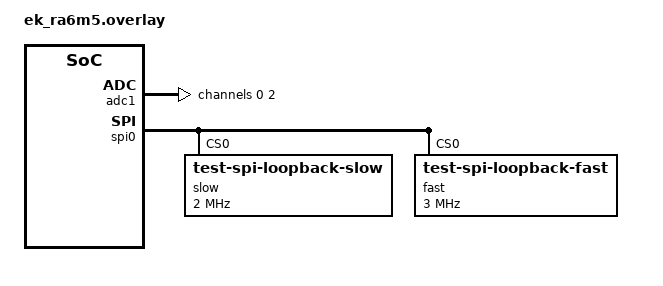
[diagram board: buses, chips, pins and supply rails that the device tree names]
/*
 * Copyright (c) 2024 Renesas Electronics Corporation
 *
 * SPDX-License-Identifier: Apache-2.0
 */

/*
 * Copyright (c) 2024 Renesas Electronics Corporation
 *
 * SPDX-License-Identifier: Apache-2.0
 */

&pinctrl {
	adc1_default: adc1_default {
		group1 {
			/* input */
			psels = <RA_PSEL(RA_PSEL_ADC, 0, 0)>;
			renesas,analog-enable;
		};
	};
};

&adc1 {
	pinctrl-0 = <&adc1_default>;
	pinctrl-names = "default";
	status = "okay";
	#address-cells = <1>;
	#size-cells = <0>;

	channel@0 {
		reg = <0>;
		zephyr,gain = "ADC_GAIN_1";
		zephyr,reference = "ADC_REF_INTERNAL";
		zephyr,resolution = <12>;
		zephyr,acquisition-time = <ADC_ACQ_TIME_DEFAULT>;
		zephyr,vref-mv = <3300>;
	};

	channel@2 {
		reg = <2>;
		zephyr,gain = "ADC_GAIN_1";
		zephyr,reference = "ADC_REF_INTERNAL";
		zephyr,resolution = <12>;
		zephyr,acquisition-time = <ADC_ACQ_TIME_DEFAULT>;
		zephyr,vref-mv = <3300>;
	};
};

/*
 * Copyright (c) 2024 Renesas Electronics Corporation
 * SPDX-License-Identifier: Apache-2.0
 */

&spi0 {
	rx-dtc;
	tx-dtc;

	slow@0 {
		compatible = "test-spi-loopback-slow";
		reg = <0>;
		spi-max-frequency = <2000000>;
	};

	fast@0 {
		compatible = "test-spi-loopback-fast";
		reg = <0>;
		spi-max-frequency = <3000000>;
	};
};

/*
 * Copyright (c) 2025 Renesas Electronics Corporation
 *
 * SPDX-License-Identifier: Apache-2.0
 */

&dma0 {
	status = "okay";
	interrupts = <95 1>, <94 1>, <93 1>;
	interrupt-names = "ch0", "ch1", "ch2";
};

tst_dma0: &dma0 {};
